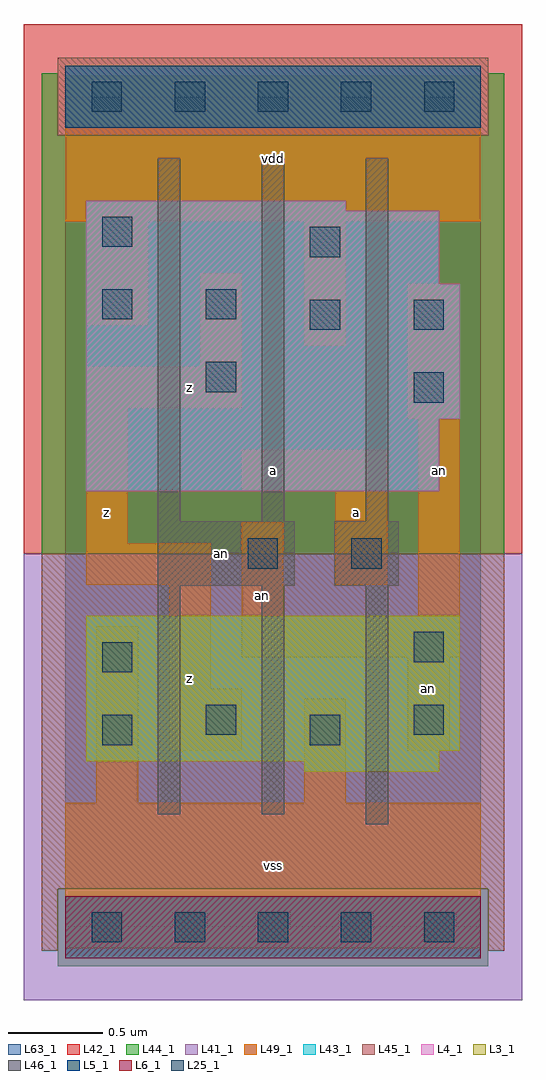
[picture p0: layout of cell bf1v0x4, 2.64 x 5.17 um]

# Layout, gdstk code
import gdstk
lib = gdstk.Library(unit=1e-6, precision=1e-09)
def R(c, l, rs):  # rectangles x0, y0, x1, y1
    for r in rs: c.add(gdstk.rectangle(r[:2], r[2:], *l))
def A(c, l, x, y, w, h, nx, ny, dx, dy):  # array of equal rectangles
    R(c, l, [(x+i*dx, y+j*dy, x+i*dx+w, y+j*dy+h) for i in range(nx) for j in range(ny)])
L3_1 = (3, 1)
L4_1 = (4, 1)
L5_1 = (5, 1)
L6_1 = (6, 1)
L25_1 = (25, 1)
L41_1 = (41, 1)
L42_1 = (42, 1)
L43_1 = (43, 1)
L44_1 = (44, 1)
L45_1 = (45, 1)
L46_1 = (46, 1)
L49_1 = (49, 1)
L63_1 = (63, 1)

bf1v0x4 = lib.new_cell('bf1v0x4')
R(bf1v0x4, L3_1, [(1.265,0.825,1.98,0.88), (0.11,0.88,1.98,0.935), (0.11,0.935,2.09,1.65)])
R(bf1v0x4, L4_1, [(0.11,2.31,1.98,2.695), (0.11,2.695,2.09,3.41), (0.11,3.41,1.98,3.795), (0.11,3.795,1.485,3.85)])
R(bf1v0x4, L5_1, [(0,4.235,2.2,4.565)])
R(bf1v0x4, L6_1, [(0,-0.165,2.2,0.165)])
A(bf1v0x4, L25_1, 0.14, -0.08, 0.16, 0.16, 5, 2, 0.44, 4.4)
R(bf1v0x4, L25_1, [(0.195,0.965,0.355,1.125), (1.295,0.965,1.455,1.125), (0.745,1.02,0.905,1.18), (1.845,1.02,2.005,1.18), (0.195,1.35,0.355,1.51), (1.845,1.405,2.005,1.565), (0.965,1.9,1.125,2.06), (1.515,1.9,1.675,2.06), (1.845,2.78,2.005,2.94), (0.745,2.835,0.905,2.995), (1.295,3.165,1.455,3.325), (1.845,3.165,2.005,3.325), (0.195,3.22,0.355,3.38), (0.745,3.22,0.905,3.38), (1.295,3.55,1.455,3.71), (0.195,3.605,0.355,3.765)])
R(bf1v0x4, L41_1, [(-0.22,-0.385,2.42,1.98)])
R(bf1v0x4, L42_1, [(-0.22,1.98,2.42,4.785)])
R(bf1v0x4, L43_1, [(0,-0.165,2.2,0.165), (1.265,0.825,1.98,0.88), (0.11,0.88,1.98,0.935), (0.11,0.935,2.09,1.65), (0.11,2.31,1.98,2.695), (0.11,2.695,2.09,3.41), (0.11,3.41,1.98,3.795), (0.11,3.795,1.485,3.85), (0,4.235,2.2,4.565)])
R(bf1v0x4, L44_1, [(-0.04,-0.205,2.24,0.205), (-0.125,1.98,2.325,4.195), (-0.125,4.195,-0.04,4.525), (2.24,4.195,2.325,4.525)])
R(bf1v0x4, L45_1, [(-0.125,-0.125,-0.04,0.205), (2.24,-0.125,2.325,0.205), (-0.125,0.205,2.325,1.98), (-0.04,4.195,2.24,4.605)])
A(bf1v0x4, L46_1, 0.49, 2.15, 0.12, 1.925, 3, 1, 0.55, 0)
R(bf1v0x4, L46_1, [(1.59,0.545,1.71,1.81), (0.49,0.6,0.61,1.81), (1.04,0.6,1.16,1.81), (0.49,1.81,1.215,2.15), (1.425,1.81,1.765,2.15)])
R(bf1v0x4, L49_1, [(0,-0.11,2.2,0.66), (0.165,0.66,0.385,1.595), (1.265,0.66,1.485,1.21), (0.55,0.935,0.935,1.265), (1.815,0.935,2.035,1.43), (0.55,1.265,0.77,1.815), (0.935,1.43,2.09,1.65), (0.935,1.65,1.155,2.145), (1.87,1.65,2.09,2.695), (0.11,1.815,0.77,2.035), (1.43,1.815,1.705,2.31), (0.11,2.035,0.33,2.75), (0.935,2.31,1.705,2.53), (1.815,2.695,2.09,3.41), (0.11,2.75,0.935,2.97), (0.715,2.97,0.935,3.465), (1.265,3.08,1.485,3.74), (0.11,3.19,0.44,3.74), (0,3.74,2.2,4.51)])
R(bf1v0x4, L63_1, [(0,0,2.2,4.4)])
bf1v0x4.add(gdstk.Label('an', (0.825,1.98), layer=46, texttype=1))
bf1v0x4.add(gdstk.Label('z', (0.22,2.2), layer=49, texttype=1))
bf1v0x4.add(gdstk.Label('z', (0.66,1.32), layer=49, texttype=1))
bf1v0x4.add(gdstk.Label('z', (0.66,2.86), layer=49, texttype=1))
bf1v0x4.add(gdstk.Label('vss', (1.1,0.33), layer=49, texttype=1))
bf1v0x4.add(gdstk.Label('an', (1.045,1.76), layer=49, texttype=1))
bf1v0x4.add(gdstk.Label('a', (1.54,2.2), layer=49, texttype=1))
bf1v0x4.add(gdstk.Label('a', (1.1,2.42), layer=49, texttype=1))
bf1v0x4.add(gdstk.Label('vdd', (1.1,4.07), layer=49, texttype=1))
bf1v0x4.add(gdstk.Label('an', (1.925,1.265), layer=49, texttype=1))
bf1v0x4.add(gdstk.Label('an', (1.98,2.42), layer=49, texttype=1))

lib.write_gds('bf1v0x4.gds')
